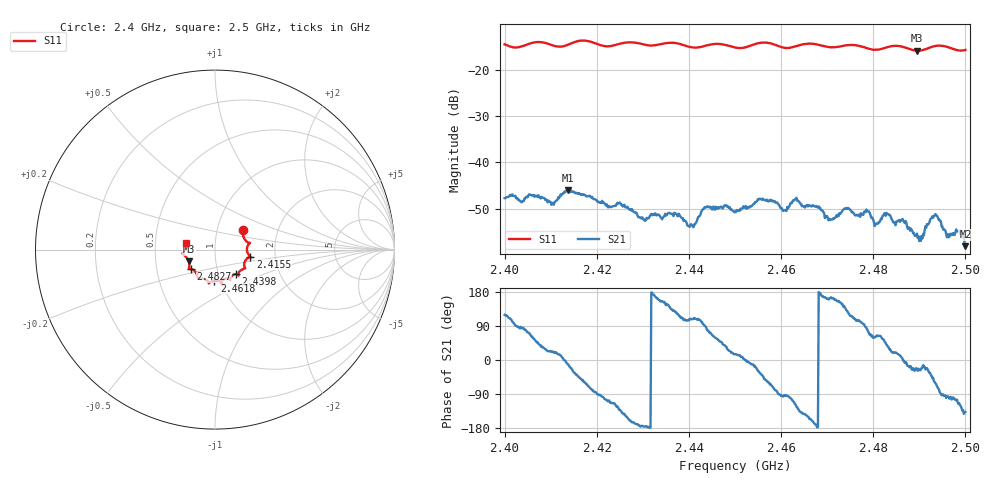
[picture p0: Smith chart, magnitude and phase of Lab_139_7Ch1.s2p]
# Hz S RI R 50
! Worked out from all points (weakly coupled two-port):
!   601 points, 2.4 GHz to 2.5 GHz, reference 50 ohm
!   highest |S21| = -45.97 dB at 2.4137 GHz (marker M1); lowest = -58.1 dB at 2.5 GHz (marker M2)
!   lowest |S11| = -15.9 dB at 2.4895 GHz (marker M3), VSWR 1.38, Z = 37 - j5.03 ohm
!   |S11| at or under -10 dB: start of sweep to end of sweep
!   S12 and S22 are empty: the file has one direction only
!   S11 on the Smith chart (normalised r, x): 2.4 GHz: 1.33, +0.29; 2.4155 GHz: 1.49, -0.12; 2.4398 GHz: 1.21, -0.34; 2.4618 GHz: 0.94, -0.33; 2.4827 GHz: 0.75, -0.17; 2.5 GHz: 0.72, +0.06
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2.4e9  0.1552 0.1069  -0.00199 0.0036  0 0  0 0
2.4105e9  0.182 0.021  0.00337 0.0014  0 0  0 0
2.413667e9  0.1846 -0.0233  0.00495 -0.000889  0 0  0 0
2.4155e9  0.1977 -0.0395  0.00368 -0.00295  0 0  0 0
2.416667e9  0.2026 -0.0429  0.00291 -0.0035  0 0  0 0
2.430167e9  0.1515 -0.1112  -0.00245 -0.000178  0 0  0 0
2.433333e9  0.13 -0.1344  -0.00257 0.000932  0 0  0 0
2.439833e9  0.1151 -0.136  -0.000495 0.002  0 0  0 0
2.443833e9  0.0853 -0.1622  0.000407 0.00327  0 0  0 0
2.45e9  0.0643 -0.162  0.00281 0.000786  0 0  0 0
2.4555e9  0.0371 -0.1919  0.00329 -0.00235  0 0  0 0
2.461833e9  -0.00308 -0.1726  -0.000524 -0.00335  0 0  0 0
2.466667e9  -0.0345 -0.1881  -0.00314 -0.00114  0 0  0 0
2.470667e9  -0.0546 -0.1664  -0.00229 0.00069  0 0  0 0
2.474167e9  -0.0896 -0.1606  -0.00213 0.00241  0 0  0 0
2.478833e9  -0.1027 -0.1354  0.000693 0.00288  0 0  0 0
2.480667e9  -0.1155 -0.1168  0.00103 0.00193  0 0  0 0
2.482667e9  -0.1348 -0.1085  0.00185 0.00189  0 0  0 0
2.483333e9  -0.1401 -0.1081  0.00227 0.00151  0 0  0 0
2.4895e9  -0.1459 -0.0663  0.00156 -0.000679  0 0  0 0
2.493333e9  -0.1785 -0.0249  0.00142 -0.00228  0 0  0 0
2.5e9  -0.1593 0.039  -0.000911 -0.000849  0 0  0 0
